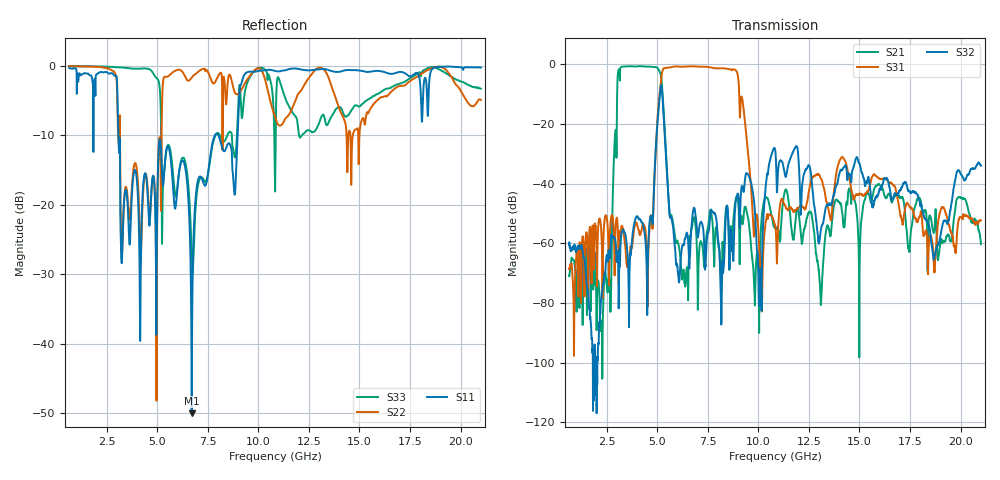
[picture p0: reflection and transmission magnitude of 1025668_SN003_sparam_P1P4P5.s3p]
!Keysight Technologies,N5227B,US58420583,A.13.95.07
!Date: Wednesday, April 06, 2022 15:01:25
!Correction: S11(Full 3 Port(1,2,3))
!S12(Full 3 Port(1,2,3))
!S13(Full 3 Port(1,2,3))
!S21(Full 3 Port(1,2,3))
!S22(Full 3 Port(1,2,3))
!S23(Full 3 Port(1,2,3))
!S31(Full 3 Port(1,2,3))
!S32(Full 3 Port(1,2,3))
!S33(Full 3 Port(1,2,3))
!S3P File: Measurements: <S11,S12,S13>,
!<S21,S22,S23>,
!<S31,S32,S33>:
# Hz S  dB  R 50
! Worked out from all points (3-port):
!   2036 points, 650 MHz to 21 GHz, reference 50 ohm
!   strongest paths, dB at 650 MHz, 5.74 GHz, 10.83 GHz, 15.92 GHz, 21 GHz:
!     S32: -60.5, -52.6, -28.6, -43.9, -34.0
!     S31: -68.6, -0.9, -53.8, -38.0, -52.3
!     S21: -70.8, -51.5, -54.6, -40.2, -60.3
!   lowest |S11| = -50.0 dB at 6.71 GHz (marker M1), VSWR 1.01, Z = 50.2 - j0.194 ohm
!   |S11| at or under -10 dB: 1.847197 GHz to 1.852968 GHz (5.772 MHz wide, 0.312 % of centre); 3.083 GHz to 7.857 GHz (4.774 GHz wide, 87.3 % of centre); 8.025 GHz to 8.976 GHz (950.9 MHz wide, 11.2 % of centre)
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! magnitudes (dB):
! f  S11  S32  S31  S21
! 650 MHz  -0.3  -60.5  -68.6  -70.8
! 2.63 GHz  -1.1  -62.7  -68.6  -72.0
! 3.29 GHz  -25.6  -56.0  -54.7  -0.8
! 4.55 GHz  -19.7  -63.1  -67.6  -0.7
! 5.19 GHz  -11.9  -7.1  -6.0  -3.8
! 6.71 GHz  -50.0  -53.3  -0.7  -54.9
! 8.92 GHz  -14.0  -44.5  -2.3  -44.5
! 10.08 GHz  -0.7  -69.3  -66.5  -63.5
! 10.83 GHz  -0.7  -28.6  -53.8  -54.6
! 21 GHz  -0.3  -34.0  -52.3  -60.3
